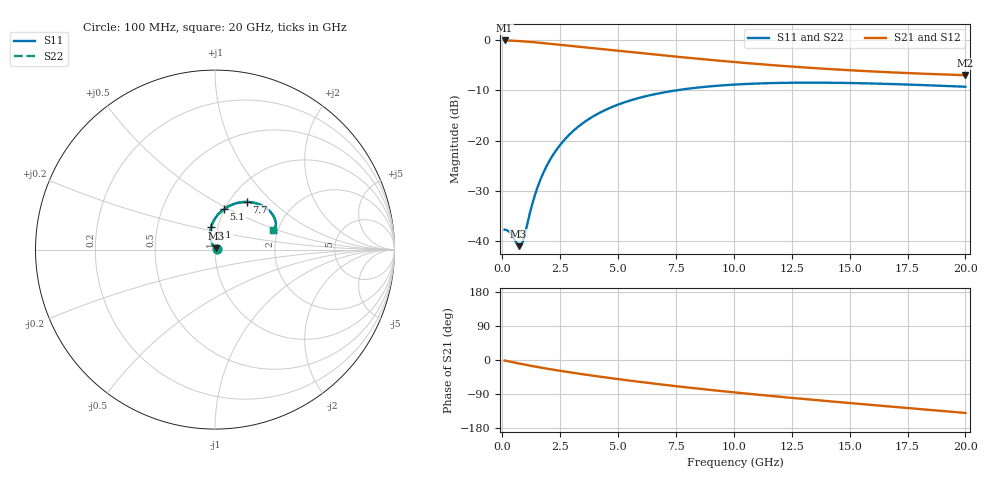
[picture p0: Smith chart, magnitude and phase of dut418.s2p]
! Touchstone file exported from HFSS 2024.1.0
!  File:  C:/UserFiles/LocalFiles/RDL_TSV_Batchsim/temp_RDL_TSV_418_1779716456.aedt
!  Generated:  10:02:45 PM May 25, 2026
!  Design:  RDL_TSV
!  Project:  temp_RDL_TSV_418_1779716456
!  Setup:  Setup1
!  Solution:  Sweep
! Variables:
!  dtsv = 10.53um
!  hbump = 3um
!  htsv = 56.98um
!  ldown = 211.52um
!  lrdl = 331.64um
!  p = 40
!  p1 = 53.73um
!  rhole = 10um
!  subl = 1961.12um
!  t = 450um
!  tdown = 4.59um
!  trdl = 2.15um
!  viad = 10um
!  wdown = 18.29um
!  wrdl = 22.71um
!  xbump = 18um
# GHz S MA R 50.000000
! Terminal data exported
! Port[1] = TM1_1_T1
! Port[2] = TM1_4_T1
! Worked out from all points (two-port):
!   200 points, 100 MHz to 20 GHz, reference 50 ohm
!   highest |S21| = -0.12 dB at 100 MHz (marker M1); lowest = -7.0 dB at 20 GHz (marker M2)
!   |S21| within 3 dB of the highest: start of sweep to 7.032 GHz
!   lowest |S11| = -41.0 dB at 700 MHz (marker M3), VSWR 1.02, Z = 50.6 + j0.643 ohm
!   |S11| at or under -10 dB: start of sweep to 7.556 GHz
!   |S22| runs from -41.0 to -8.5 dB; largest |S21 - S12| = 8.6e-15
!   S11 on the Smith chart (normalised r, x): 100 MHz: 1.03, +0.00; 3.1 GHz: 0.93, +0.24; 5.1 GHz: 0.99, +0.48; 7.7 GHz: 1.20, +0.71; 20 GHz: 1.89, +0.46
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0.1  0.01302 3.9  0.9866 -1.3  0.9866 -1.3  0.01302 3.9
! Gamma 0 0 0 0
! Port Impedance 50 0 50 0
0.3  0.01242 11.3  0.984 -3.9  0.984 -3.9  0.01242 11.3
0.4  0.0117 15.8  0.9819 -5.2  0.9819 -5.2  0.0117 15.8
0.7  0.008914 45.4  0.9738 -9.0  0.9738 -9.0  0.008919 45.4
0.8  0.008915 63.5  0.9705 -10.2  0.9705 -10.2  0.008915 63.3
0.9  0.01007 81.4  0.9669 -11.4  0.9669 -11.4  0.01006 81.3
1.2  0.01934 109.8  0.9549 -14.9  0.9549 -14.9  0.01931 109.7
1.4  0.02825 114.9  0.9459 -17.2  0.9459 -17.2  0.0282 114.9
1.6  0.03833 116.0  0.9365 -19.4  0.9365 -19.4  0.03827 116.0
1.8  0.04922 115.3  0.9268 -21.5  0.9268 -21.5  0.04915 115.3
2.1  0.06652 112.6  0.912 -24.6  0.912 -24.6  0.06642 112.5
2.4  0.08446 109.0  0.8971 -27.6  0.8971 -27.6  0.08433 109.0
3.1  0.1266 100.0  0.8631 -34.2  0.8631 -34.2  0.1264 100.0
3.5  0.15 95.0  0.8444 -37.8  0.8444 -37.8  0.1497 94.9
4.2  0.1883 86.8  0.8129 -43.8  0.8129 -43.8  0.188 86.7
5.1  0.2318 77.3  0.7743 -51.2  0.7743 -51.2  0.2314 77.3
6.8  0.2953 62.7  0.707 -64.1  0.707 -64.1  0.2948 62.6
7.7  0.3198 56.2  0.6746 -70.5  0.6746 -70.5  0.3192 56.2
10.1  0.3603 42.5  0.6 -86.0  0.6 -86.0  0.3597 42.5
13.4  0.3757 29.6  0.5253 -105.0  0.5253 -105.0  0.375 29.6
16.7  0.3647 21.8  0.4766 -122.5  0.4766 -122.5  0.364 21.7
20  0.3423 18.4  0.4456 -139.8  0.4456 -139.8  0.3415 18.4
